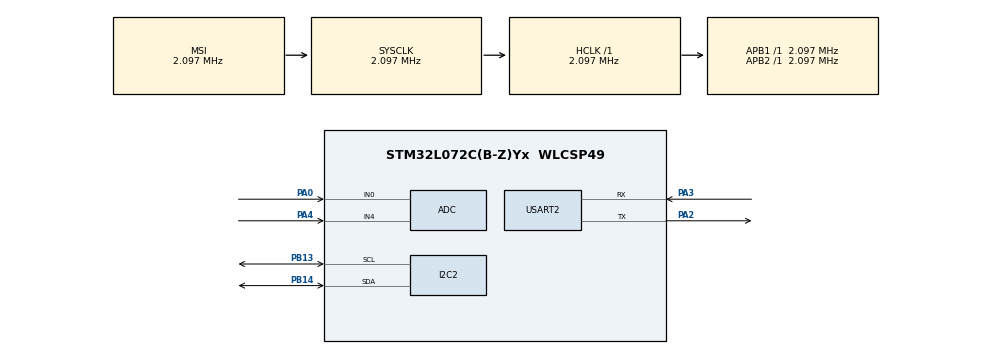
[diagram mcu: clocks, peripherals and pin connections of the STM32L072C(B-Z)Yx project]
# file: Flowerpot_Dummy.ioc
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ADC.SamplingTime=ADC_SAMPLETIME_7CYCLES_5
Mcu.Family=STM32L0
Mcu.Name=STM32L072C(B-Z)Yx
Mcu.Package=WLCSP49
PA0.Mode=IN0
PA0.Signal=ADC_IN0
PA2.Mode=Asynchronous
PA2.Signal=USART2_TX
PA3.Mode=Asynchronous
PA3.Signal=USART2_RX
PA4.Mode=IN4
PA4.Signal=ADC_IN4
PB13.Mode=I2C
PB13.Signal=I2C2_SCL
PB14.Mode=I2C
PB14.Signal=I2C2_SDA
ProjectManager.HeapSize=0x200
ProjectManager.StackSize=0x400
ProjectManager.TargetToolchain=STM32CubeIDE
RCC.AHBFreq_Value=2097000
RCC.APB1Freq_Value=2097000
RCC.APB1TimFreq_Value=2097000
RCC.APB2Freq_Value=2097000
RCC.APB2TimFreq_Value=2097000
RCC.HSE_VALUE=8000000
RCC.HSI16_VALUE=16000000
RCC.HSI48_VALUE=48000000
RCC.HSI_VALUE=16000000
RCC.LSE_VALUE=32768
RCC.MSI_VALUE=2097000
RCC.SYSCLKFreq_VALUE=2097000
RCC.VCOOutputFreq_Value=48000000
USART2.VirtualMode-Asynchronous=VM_ASYNC
board=custom

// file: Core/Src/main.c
/* USER CODE BEGIN Header */
/**
  ******************************************************************************
  * @file           : main.c
  * @brief          : Main program body
  ******************************************************************************
  * @attention
  *
  * <h2><center>&copy; Copyright (c) 2022 STMicroelectronics.
  * All rights reserved.</center></h2>
  *
  * This software component is licensed by ST under BSD 3-Clause license,
  * the "License"; You may not use this file except in compliance with the
  * License. You may obtain a copy of the License at:
  *                        opensource.org/licenses/BSD-3-Clause
  *
  ******************************************************************************
  */
/* USER CODE END Header */
#include "main.h"

/* USER CODE BEGIN Includes */
#include <stdio.h>
#include "sht3x.h"
/* USER CODE END Includes */

 ADC_HandleTypeDef hadc;

I2C_HandleTypeDef hi2c2;

UART_HandleTypeDef huart2;

void SystemClock_Config(void);
static void MX_GPIO_Init(void);
static void MX_ADC_Init(void);
static void MX_USART2_UART_Init(void);
static void MX_I2C2_Init(void);
/* USER CODE BEGIN PFP */
//printf to uart redirect
#define PUTCHAR_PROTOTYPE int __io_putchar(int ch)
/* USER CODE END PFP */

int main(void)
{

  /* MCU Configuration--------------------------------------------------------*/

  /* Reset of all peripherals, Initializes the Flash interface and the Systick. */
  HAL_Init();

  /* Configure the system clock */
  SystemClock_Config();

  /* Initialize all configured peripherals */
  MX_GPIO_Init();
  MX_ADC_Init();
  MX_USART2_UART_Init();
  MX_I2C2_Init();
  /* USER CODE BEGIN 2 */
  int ledVal = 0;

  //set up sht library
  sht3x_handle_t handle = {
      .i2c_handle = &hi2c2,
      .device_address = SHT3X_I2C_DEVICE_ADDRESS_ADDR_PIN_LOW
  };
  if (!sht3x_init(&handle)) {
      printf("SHT3x access failed.\n\r");
  }
  // Enable heater for two seconds.
  sht3x_set_header_enable(&handle, true);
  HAL_Delay(2000);
  sht3x_set_header_enable(&handle, false);

  /* USER CODE END 2 */

  /* Infinite loop */
  /* USER CODE BEGIN WHILE */
  while (1)
  {

	//HAL_GPIO_WritePin(GPIOB, GPIO_PIN_13, ledVal);
	ledVal = !ledVal;
	HAL_Delay(100);

	//read lightsensor adc
	HAL_ADC_Start(&hadc);
	HAL_ADC_PollForConversion(&hadc, 10);
	uint16_t adcResult = HAL_ADC_GetValue(&hadc);

	//read temp/hum sensor
	float temp, hum;
	sht3x_read_temperature_and_humidity(&handle, &temp, &hum);

	printf("Light adc : %d \n\r", adcResult);
	printf("Temp %.2f, humidity %.2f \% \n\r", temp, hum);

    /* USER CODE END WHILE */

  }
}

void SystemClock_Config(void)
{
  RCC_OscInitTypeDef RCC_OscInitStruct = {0};
  RCC_ClkInitTypeDef RCC_ClkInitStruct = {0};
  RCC_PeriphCLKInitTypeDef PeriphClkInit = {0};

  /** Configure the main internal regulator output voltage
  */
  __HAL_PWR_VOLTAGESCALING_CONFIG(PWR_REGULATOR_VOLTAGE_SCALE1);

  /** Initializes the RCC Oscillators according to the specified parameters
  * in the RCC_OscInitTypeDef structure.
  */
  RCC_OscInitStruct.OscillatorType = RCC_OSCILLATORTYPE_MSI;
  RCC_OscInitStruct.MSIState = RCC_MSI_ON;
  RCC_OscInitStruct.MSICalibrationValue = 0;
  RCC_OscInitStruct.MSIClockRange = RCC_MSIRANGE_5;
  RCC_OscInitStruct.PLL.PLLState = RCC_PLL_NONE;
  if (HAL_RCC_OscConfig(&RCC_OscInitStruct) != HAL_OK)
  {
    Error_Handler();
  }

  /** Initializes the CPU, AHB and APB buses clocks
  */
  RCC_ClkInitStruct.ClockType = RCC_CLOCKTYPE_HCLK|RCC_CLOCKTYPE_SYSCLK
                              |RCC_CLOCKTYPE_PCLK1|RCC_CLOCKTYPE_PCLK2;
  RCC_ClkInitStruct.SYSCLKSource = RCC_SYSCLKSOURCE_MSI;
  RCC_ClkInitStruct.AHBCLKDivider = RCC_SYSCLK_DIV1;
  RCC_ClkInitStruct.APB1CLKDivider = RCC_HCLK_DIV1;
  RCC_ClkInitStruct.APB2CLKDivider = RCC_HCLK_DIV1;

  if (HAL_RCC_ClockConfig(&RCC_ClkInitStruct, FLASH_LATENCY_0) != HAL_OK)
  {
    Error_Handler();
  }
  PeriphClkInit.PeriphClockSelection = RCC_PERIPHCLK_USART2;
  PeriphClkInit.Usart2ClockSelection = RCC_USART2CLKSOURCE_PCLK1;
  if (HAL_RCCEx_PeriphCLKConfig(&PeriphClkInit) != HAL_OK)
  {
    Error_Handler();
  }
}

static void MX_ADC_Init(void)
{

  ADC_ChannelConfTypeDef sConfig = {0};

  /** Configure the global features of the ADC (Clock, Resolution, Data Alignment and number of conversion)
  */
  hadc.Instance = ADC1;
  hadc.Init.OversamplingMode = DISABLE;
  hadc.Init.ClockPrescaler = ADC_CLOCK_SYNC_PCLK_DIV1;
  hadc.Init.Resolution = ADC_RESOLUTION_12B;
  hadc.Init.SamplingTime = ADC_SAMPLETIME_7CYCLES_5;
  hadc.Init.ScanConvMode = ADC_SCAN_DIRECTION_FORWARD;
  hadc.Init.DataAlign = ADC_DATAALIGN_RIGHT;
  hadc.Init.ContinuousConvMode = DISABLE;
  hadc.Init.DiscontinuousConvMode = DISABLE;
  hadc.Init.ExternalTrigConvEdge = ADC_EXTERNALTRIGCONVEDGE_NONE;
  hadc.Init.ExternalTrigConv = ADC_SOFTWARE_START;
  hadc.Init.DMAContinuousRequests = DISABLE;
  hadc.Init.EOCSelection = ADC_EOC_SINGLE_CONV;
  hadc.Init.Overrun = ADC_OVR_DATA_PRESERVED;
  hadc.Init.LowPowerAutoWait = DISABLE;
  hadc.Init.LowPowerFrequencyMode = ENABLE;
  hadc.Init.LowPowerAutoPowerOff = DISABLE;
  if (HAL_ADC_Init(&hadc) != HAL_OK)
  {
    Error_Handler();
  }

  /** Configure for the selected ADC regular channel to be converted.
  */
  sConfig.Channel = ADC_CHANNEL_0;
  sConfig.Rank = ADC_RANK_CHANNEL_NUMBER;
  if (HAL_ADC_ConfigChannel(&hadc, &sConfig) != HAL_OK)
  {
    Error_Handler();
  }

  /** Configure for the selected ADC regular channel to be converted.
  */
  sConfig.Channel = ADC_CHANNEL_4;
  if (HAL_ADC_ConfigChannel(&hadc, &sConfig) != HAL_OK)
  {
    Error_Handler();
  }

}

static void MX_I2C2_Init(void)
{

  hi2c2.Instance = I2C2;
  hi2c2.Init.Timing = 0x00000708;
  hi2c2.Init.OwnAddress1 = 0;
  hi2c2.Init.AddressingMode = I2C_ADDRESSINGMODE_7BIT;
  hi2c2.Init.DualAddressMode = I2C_DUALADDRESS_DISABLE;
  hi2c2.Init.OwnAddress2 = 0;
  hi2c2.Init.OwnAddress2Masks = I2C_OA2_NOMASK;
  hi2c2.Init.GeneralCallMode = I2C_GENERALCALL_DISABLE;
  hi2c2.Init.NoStretchMode = I2C_NOSTRETCH_DISABLE;
  if (HAL_I2C_Init(&hi2c2) != HAL_OK)
  {
    Error_Handler();
  }

  /** Configure Analogue filter
  */
  if (HAL_I2CEx_ConfigAnalogFilter(&hi2c2, I2C_ANALOGFILTER_ENABLE) != HAL_OK)
  {
    Error_Handler();
  }

  /** Configure Digital filter
  */
  if (HAL_I2CEx_ConfigDigitalFilter(&hi2c2, 0) != HAL_OK)
  {
    Error_Handler();
  }

}

static void MX_USART2_UART_Init(void)
{

  huart2.Instance = USART2;
  huart2.Init.BaudRate = 115200;
  huart2.Init.WordLength = UART_WORDLENGTH_8B;
  huart2.Init.StopBits = UART_STOPBITS_1;
  huart2.Init.Parity = UART_PARITY_NONE;
  huart2.Init.Mode = UART_MODE_TX_RX;
  huart2.Init.HwFlowCtl = UART_HWCONTROL_NONE;
  huart2.Init.OverSampling = UART_OVERSAMPLING_16;
  huart2.Init.OneBitSampling = UART_ONE_BIT_SAMPLE_DISABLE;
  huart2.AdvancedInit.AdvFeatureInit = UART_ADVFEATURE_NO_INIT;
  if (HAL_UART_Init(&huart2) != HAL_OK)
  {
    Error_Handler();
  }

}

static void MX_GPIO_Init(void)
{

  /* GPIO Ports Clock Enable */
  __HAL_RCC_GPIOA_CLK_ENABLE();
  __HAL_RCC_GPIOB_CLK_ENABLE();

}

/* USER CODE BEGIN 4 */
PUTCHAR_PROTOTYPE
{
  /* Place your implementation of fputc here */
  /* e.g. write a character to the USART1 and Loop until the end of transmission */
  HAL_UART_Transmit(&huart2, (uint8_t *)&ch, 1, 0xFFFF);

  return ch;
}
/* USER CODE END 4 */

void Error_Handler(void)
{
  __disable_irq();
  while (1)
  {
  }
}
